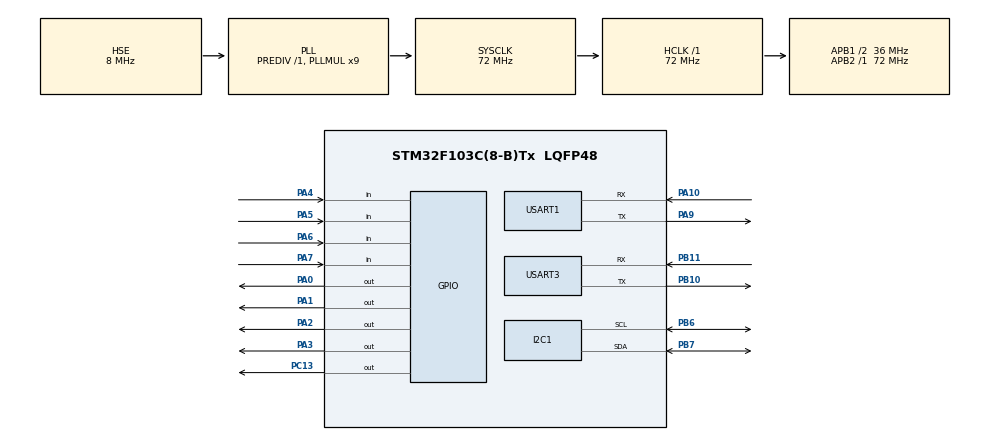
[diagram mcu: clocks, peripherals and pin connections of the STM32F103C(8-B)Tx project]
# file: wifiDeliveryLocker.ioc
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Mcu.Family=STM32F1
Mcu.Name=STM32F103C(8-B)Tx
Mcu.Package=LQFP48
NVIC.PriorityGroup=NVIC_PRIORITYGROUP_4
NVIC.USART1_IRQn=true\:0\:0\:false\:false\:true\:true\:true\:true
PA0-WKUP.PinState=GPIO_PIN_RESET
PA0-WKUP.Signal=GPIO_Output
PA1.Signal=GPIO_Output
PA10.Mode=Asynchronous
PA10.Signal=USART1_RX
PA13.Mode=Serial_Wire
PA13.Signal=SYS_JTMS-SWDIO
PA14.Mode=Serial_Wire
PA14.Signal=SYS_JTCK-SWCLK
PA2.Signal=GPIO_Output
PA3.Signal=GPIO_Output
PA4.GPIO_PuPd=GPIO_PULLUP
PA4.Signal=GPIO_Input
PA5.GPIO_PuPd=GPIO_PULLUP
PA5.Signal=GPIO_Input
PA6.GPIO_PuPd=GPIO_PULLUP
PA6.Signal=GPIO_Input
PA7.GPIO_PuPd=GPIO_PULLUP
PA7.Signal=GPIO_Input
PA9.Mode=Asynchronous
PA9.Signal=USART1_TX
PB10.Mode=Asynchronous
PB10.Signal=USART3_TX
PB11.Mode=Asynchronous
PB11.Signal=USART3_RX
PB6.Mode=I2C
PB6.Signal=I2C1_SCL
PB7.Mode=I2C
PB7.Signal=I2C1_SDA
PC13-TAMPER-RTC.Signal=GPIO_Output
PD0-OSC_IN.Mode=HSE-External-Oscillator
PD0-OSC_IN.Signal=RCC_OSC_IN
PD1-OSC_OUT.Mode=HSE-External-Oscillator
PD1-OSC_OUT.Signal=RCC_OSC_OUT
ProjectManager.HeapSize=0x200
ProjectManager.StackSize=0x400
ProjectManager.TargetToolchain=MDK-ARM V5.32
RCC.AHBFreq_Value=72000000
RCC.APB1CLKDivider=RCC_HCLK_DIV2
RCC.APB1Freq_Value=36000000
RCC.APB1TimFreq_Value=72000000
RCC.APB2Freq_Value=72000000
RCC.APB2TimFreq_Value=72000000
RCC.HCLKFreq_Value=72000000
RCC.PLLMUL=RCC_PLL_MUL9
RCC.PLLSourceVirtual=RCC_PLLSOURCE_HSE
RCC.SYSCLKFreq_VALUE=72000000
RCC.SYSCLKSource=RCC_SYSCLKSOURCE_PLLCLK
RCC.USBFreq_Value=72000000
USART1.VirtualMode=VM_ASYNC
USART3.VirtualMode=VM_ASYNC
board=custom

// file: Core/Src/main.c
/* USER CODE BEGIN Header */
/**
  ******************************************************************************
  * @file           : main.c
  * @brief          : Main program body
  ******************************************************************************
  * @attention
  *
  * Copyright (c) 2023 STMicroelectronics.
  * All rights reserved.
  *
  * This software is licensed under terms that can be found in the LICENSE file
  * in the root directory of this software component.
  * If no LICENSE file comes with this software, it is provided AS-IS.
  *
  ******************************************************************************
  */
/* USER CODE END Header */
#include "main.h"
#include "i2c.h"
#include "usart.h"
#include "gpio.h"

/* USER CODE BEGIN Includes */
#include "oled.h"
#include "oledfont.h"
#include "esp8266.h"
#include "sys.h"
#include "keyboard.h"
#include "string.h"
#include "stdlib.h"

/* USER CODE END Includes */

/* USER CODE BEGIN PD */
#define boxNumber 20
#define numberLength 11
#define passwordLength 6
/* USER CODE END PD */

/* USER CODE BEGIN PM */
struct user
{
	uint8_t user_number[11];
	uint8_t user_password[6];
};
struct user userId[boxNumber] = {0};

uint16_t userId_size = 0;
uint16_t input_size;
uint16_t string_num_size = 0;
uint16_t string_password_size = 0;
uint16_t user_size = 0;

uint8_t input[11];
uint8_t string_num[11];
uint8_t string_password[6];
uint8_t tx_buffer_number[11];
uint8_t tx_buffer_password[6];

uint8_t make_sure;
uint8_t show_mode;
uint16_t keyboard_num;

/* USER CODE END PM */

void SystemClock_Config(void);
/* USER CODE BEGIN PFP */
void take_goods(void);
void access_goods(void);
/* USER CODE END PFP */

int main(void)
{

  /* MCU Configuration--------------------------------------------------------*/

  /* Reset of all peripherals, Initializes the Flash interface and the Systick. */
  HAL_Init();

  /* Configure the system clock */
  SystemClock_Config();

  /* Initialize all configured peripherals */
  MX_GPIO_Init();
  MX_I2C1_Init();
  MX_USART1_UART_Init();
  MX_USART3_UART_Init();
  /* USER CODE BEGIN 2 */
	OLED_Init();
	OLED_Clear();
	esp8266_init();
//sprintf((char *)userId[0].user_number,"12345678901");
//	sprintf((char *)userId[0].user_password,"654321");
  /* USER CODE END 2 */

  /* Infinite loop */
  while (1)
  {

    /* USER CODE BEGIN 3 */

//		printf("AT+MQTTPUB=0,\"/sys/a1uQRc62cTT/esp8266/thing/event/property/post\",\"{\\\"method\\\":\\\"thing.service.property.set\\\"\\,\\\"id\\\":\\\"1698739911\\\"\\,\\\"params\\\":{\\\"number\\\":\\\"%s\\\"}\\,\\\"version\\\":\\\"1.0.0\\\"}\",1,0\r\n",tx_buffer_number);
//		HAL_Delay(1000);
//		printf("AT+MQTTPUB=0,\"/sys/a1uQRc62cTT/esp8266/thing/event/property/post\",\"{\\\"method\\\":\\\"thing.service.property.set\\\"\\,\\\"id\\\":\\\"1698739911\\\"\\,\\\"params\\\":{\\\"password\\\":\\\"%s\\\"}\\,\\\"version\\\":\\\"1.0.0\\\"}\",1,0\r\n",tx_buffer_password);
//    switch_keyboard(scale_keyboard());
		//oled_show_num();

		keyboard_num = scale_keyboard();

		switch (keyboard_num)
		{
			case 4:input[input_size] = '0',input_size+=1;break;

			case 1:input[input_size] = '1',input_size+=1;break;
			case 2:input[input_size] = '2',input_size+=1;break;
			case 3:input[input_size] = '3',input_size+=1;break;

			case 5:input[input_size] = '4',input_size+=1;break;
			case 6:input[input_size] = '5',input_size+=1;break;
			case 7:input[input_size] = '6',input_size+=1;break;

			case 9:input[input_size] = '7',input_size+=1;break;
			case 10:input[input_size] = '8',input_size+=1;break;
			case 11:input[input_size] = '9',input_size+=1;break;

			case 8:input_size-=1;break;
			case 12:input_size = 0,OLED_Clear(),memset(input,0,11),input_size = 0;;break;

			case 13:OLED_Clear(),sysMode = 1,show_mode = 1,input_size = 0;break;
			case 14:OLED_Clear(),sysMode = 2,show_mode = 2,input_size = 0;break;
			case 15:make_sure = 1 , input_size = 0;break;
			case 16:sysMode=0;;break;
			default:;
		}

		switch(show_mode)
		{
			case 0:oled_shou_welcome();break;
			case 1:oled_show_num();break;
			case 2:oled_show_get();break;
			case 3:;break;
			default:;
		}

		if(input_size >11)input_size = 0;

		OLED_ShowString(0,3,input,11);

		take_goods();
		access_goods();

	  HAL_GPIO_TogglePin(GPIOC,GPIO_PIN_13);
		HAL_Delay(200);
  }
  /* USER CODE END 3 */
}

void SystemClock_Config(void)
{
  RCC_OscInitTypeDef RCC_OscInitStruct = {0};
  RCC_ClkInitTypeDef RCC_ClkInitStruct = {0};

  /** Initializes the RCC Oscillators according to the specified parameters
  * in the RCC_OscInitTypeDef structure.
  */
  RCC_OscInitStruct.OscillatorType = RCC_OSCILLATORTYPE_HSE;
  RCC_OscInitStruct.HSEState = RCC_HSE_ON;
  RCC_OscInitStruct.HSEPredivValue = RCC_HSE_PREDIV_DIV1;
  RCC_OscInitStruct.HSIState = RCC_HSI_ON;
  RCC_OscInitStruct.PLL.PLLState = RCC_PLL_ON;
  RCC_OscInitStruct.PLL.PLLSource = RCC_PLLSOURCE_HSE;
  RCC_OscInitStruct.PLL.PLLMUL = RCC_PLL_MUL9;
  if (HAL_RCC_OscConfig(&RCC_OscInitStruct) != HAL_OK)
  {
    Error_Handler();
  }

  /** Initializes the CPU, AHB and APB buses clocks
  */
  RCC_ClkInitStruct.ClockType = RCC_CLOCKTYPE_HCLK|RCC_CLOCKTYPE_SYSCLK
                              |RCC_CLOCKTYPE_PCLK1|RCC_CLOCKTYPE_PCLK2;
  RCC_ClkInitStruct.SYSCLKSource = RCC_SYSCLKSOURCE_PLLCLK;
  RCC_ClkInitStruct.AHBCLKDivider = RCC_SYSCLK_DIV1;
  RCC_ClkInitStruct.APB1CLKDivider = RCC_HCLK_DIV2;
  RCC_ClkInitStruct.APB2CLKDivider = RCC_HCLK_DIV1;

  if (HAL_RCC_ClockConfig(&RCC_ClkInitStruct, FLASH_LATENCY_2) != HAL_OK)
  {
    Error_Handler();
  }
}

/* USER CODE BEGIN 4 */
void access_goods(void)
{
	if((sysMode == 1) && (make_sure == 1))
	{
		strcpy((char *)string_num,(char *)input);

		for(uint8_t t = 0;t < 6;t++)
		{
			char str[]="0123456789";
			userId[0].user_password[t]=str[rand()%strlen(str)];
		}

		strcpy((char *)tx_buffer_password,(char *)userId[0].user_password);

		printf("AT+MQTTPUB=0,\"/sys/a1uQRc62cTT/esp8266/thing/event/property/post\",\"{\\\"method\\\":\\\"thing.service.property.set\\\"\\,\\\"id\\\":\\\"1698739911\\\"\\,\\\"params\\\":{\\\"password\\\":\\\"%s\\\"}\\,\\\"version\\\":\\\"1.0.0\\\"}\",1,0\r\n",tx_buffer_password);
		HAL_Delay(200);

		OLED_Clear();
		OLED_ShowCHinese(8,0,21);
		OLED_ShowCHinese(40,0,22);

		userId_size++;
		sysMode = 0;
		make_sure = 0;
	}
}

void take_goods(void)
{
	if((sysMode == 2) && (make_sure == 1))
	{
		strcpy((char *)string_password,(char *)input);

		if(strcmp((char *)string_password,(char *)userId[0].user_password)==0)
		{
			OLED_Clear();
			OLED_ShowCHinese(8,0,17);
			OLED_ShowCHinese(40,0,18);

		}
		else
		{
			memset(input,0,11);

			OLED_Clear();
			OLED_ShowCHinese(8,0,19);
			OLED_ShowCHinese(40,0,20);
		}
		make_sure = 0;
		userId_size++;
	}
}

uint8_t check_user(void)
{

}
/* USER CODE END 4 */

void Error_Handler(void)
{
  __disable_irq();
  while (1)
  {
  }
}
